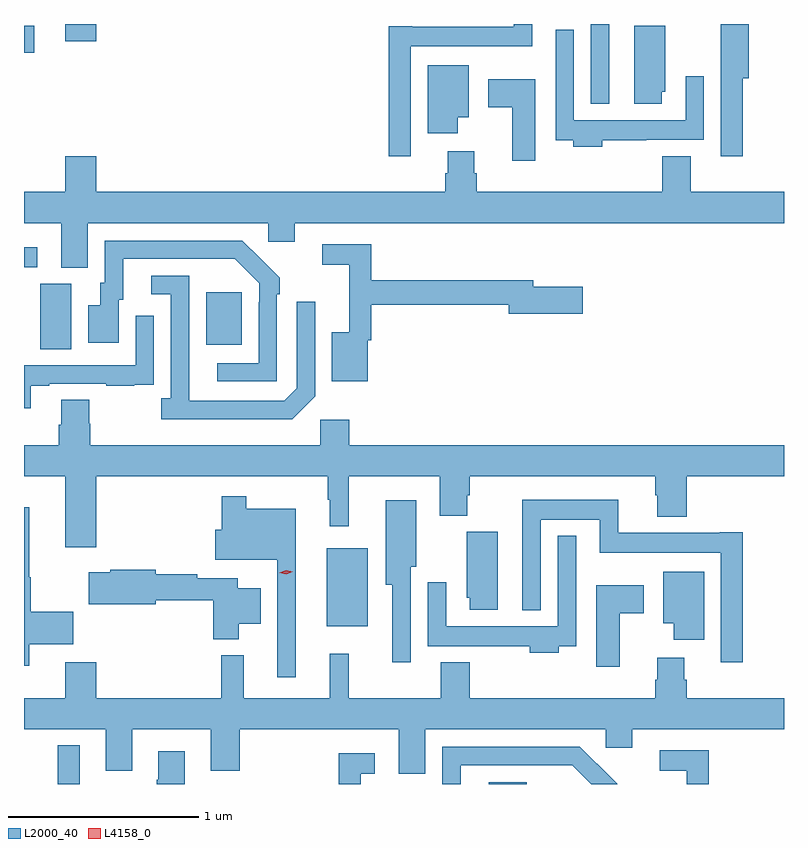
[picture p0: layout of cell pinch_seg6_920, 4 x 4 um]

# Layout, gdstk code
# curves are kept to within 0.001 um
import gdstk
lib = gdstk.Library(unit=1e-6, precision=1e-09)
def R(c, l, rs):  # rectangles x0, y0, x1, y1
    for r in rs: c.add(gdstk.rectangle(r[:2], r[2:], *l))
def P(c, l, *ps):  # polygons
    for p in ps: c.add(gdstk.Polygon(p, *l))
L2000_40 = (2000, 40)
L4158_0 = (4158, 0)

pinch_seg6_920 = lib.new_cell('pinch_seg6_920')
R(pinch_seg6_920, L2000_40, [(248.885,947.048,249.001,947.251), (251.154,947.048,251.352,947.058), (250.301,947.879,250.516,948.289), (248.792,949.336,248.956,949.68), (249.665,949.361,249.853,949.636), (248.707,949.767,248.776,949.873), (251.691,950.627,251.788,951.048), (248.707,950.897,248.761,951.039), (248.924,950.958,249.088,951.048)])
P(pinch_seg6_920, L2000_40, [(252.491,950.762),(252.521,950.762),(252.521,951.048),(252.374,951.048),(252.374,950.866),(252.375,950.866),(252.375,950.352),(252.491,950.352)],
  [(250.743,950.93),(251.382,950.93),(251.382,951.048),(251.285,951.048),(251.285,951.034),(250.75,951.034),(250.75,951.037),(250.627,951.037),(250.627,950.352),(250.743,950.352)],
  [(252.064,950.691),(252.082,950.691),(252.082,951.039),(251.918,951.039),(251.918,950.628),(252.064,950.628)],
  [(251.75,950.436),(251.981,950.436),(251.981,950.438),(252.285,950.438),(252.285,950.773),(252.189,950.773),(252.189,950.542),(251.601,950.542),(251.601,951.019),(251.505,951.019),(251.505,950.436),(251.597,950.436),(251.597,950.402),(251.75,950.402)],
  [(250.99,950.558),(251.047,950.558),(251.047,950.83),(250.832,950.83),(250.832,950.472),(250.99,950.472)],
  [(251.398,950.758),(251.151,950.758),(251.151,950.611),(251.276,950.611),(251.276,950.328),(251.398,950.328)],
  [(249.043,950),(249.993,950),(249.993,949.902),(250.132,949.902),(250.132,950),(252.707,950),(252.707,950.164),(252.217,950.164),(252.217,950.353),(252.065,950.353),(252.065,950.164),(251.09,950.164),(251.09,950.262),(251.077,950.262),(251.077,950.377),(250.937,950.377),(250.937,950.262),(250.925,950.262),(250.925,950.164),(249.088,950.164),(249.088,950.353),(248.924,950.353),(248.924,950.164),(248.707,950.164),(248.707,950),(248.903,950),(248.903,949.765),(249.043,949.765)],
  [(250.038,949.625),(250.053,949.625),(250.053,949.713),(249.856,949.908),(249.132,949.908),(249.132,949.686),(249.107,949.686),(249.107,949.567),(249.044,949.567),(249.044,949.371),(249.205,949.371),(249.205,949.596),(249.229,949.596),(249.229,949.812),(249.817,949.812),(249.945,949.683),(249.945,949.583),(249.942,949.583),(249.942,949.263),(249.723,949.263),(249.723,949.167),(250.038,949.167)],
  [(250.516,949.383),(250.535,949.383),(250.535,949.57),(251.258,949.57),(251.258,949.523),(251.647,949.523),(251.647,949.665),(251.386,949.665),(251.386,949.699),(250.535,949.699),(250.535,949.89),(250.278,949.89),(250.278,949.782),(250.418,949.782),(250.418,949.426),(250.328,949.426),(250.328,949.169),(250.516,949.169)],
  [(250.239,949.089),(250.239,949.585),(250.143,949.585),(250.143,949.131),(250.077,949.065),(249.577,949.065),(249.576,949.722),(249.378,949.722),(249.378,949.626),(249.48,949.626),(249.48,949.078),(249.429,949.078),(249.429,948.968),(250.118,948.968)],
  [(248.743,949.143),(248.839,949.143),(248.839,949.155),(249.139,949.155),(249.139,949.143),(249.287,949.143),(249.287,949.149),(249.389,949.149),(249.389,949.258),(249.39,949.258),(249.39,949.513),(249.294,949.513),(249.294,949.251),(248.707,949.251),(248.707,949.026),(248.743,949.026)],
  [(249.088,948.668),(250.305,948.668),(250.305,948.545),(250.316,948.545),(250.316,948.405),(250.415,948.405),(250.415,948.668),(250.894,948.668),(250.894,948.46),(251.041,948.46),(251.041,948.569),(251.054,948.569),(251.054,948.668),(252.029,948.668),(252.029,948.567),(252.041,948.567),(252.041,948.455),(252.194,948.455),(252.194,948.668),(252.707,948.668),(252.707,948.832),(250.418,948.832),(250.418,948.964),(250.266,948.964),(250.266,948.832),(249.056,948.832),(249.056,948.945),(249.051,948.945),(249.051,949.07),(248.903,949.07),(248.903,948.938),(248.891,948.938),(248.891,948.832),(248.707,948.832),(248.707,948.668),(248.924,948.668),(248.924,948.294),(249.088,948.294)],
  [(250.138,948.496),(249.877,948.496),(249.877,948.562),(249.748,948.562),(249.748,948.385),(249.714,948.385),(249.714,948.227),(250.041,948.227),(250.041,947.61),(250.138,947.61)],
  [(252.491,948.373),(252.368,948.373),(252.368,948.37),(251.834,948.37),(251.834,948.544),(251.33,948.544),(251.33,947.963),(251.427,947.963),(251.427,948.44),(251.736,948.44),(251.736,948.266),(252.375,948.266),(252.375,947.688),(252.491,947.688)],
  [(250.743,948.192),(250.771,948.192),(250.771,948.541),(250.61,948.541),(250.61,948.098),(250.646,948.098),(250.646,947.688),(250.743,947.688)],
  [(248.734,947.783),(248.965,947.783),(248.965,947.954),(248.742,947.954),(248.742,948.137),(248.734,948.137),(248.734,948.505),(248.707,948.505),(248.707,947.67),(248.734,947.67)],
  [(251.2,948.375),(251.036,948.375),(251.036,948.027),(251.054,948.027),(251.054,947.964),(251.2,947.964)],
  [(251.521,947.772),(251.613,947.772),(251.613,948.355),(251.517,948.355),(251.517,947.878),(250.929,947.878),(250.929,948.109),(250.833,948.109),(250.833,947.774),(251.137,947.774),(251.137,947.772),(251.369,947.772),(251.369,947.738),(251.521,947.738)],
  [(249.838,947.891),(249.952,947.891),(249.952,948.079),(249.832,948.079),(249.832,948.132),(249.62,948.132),(249.62,948.152),(249.4,948.152),(249.4,948.176),(249.16,948.176),(249.16,948.163),(249.048,948.163),(249.048,947.993),(249.4,947.993),(249.4,948.016),(249.704,948.016),(249.704,947.81),(249.838,947.81)],
  [(252.286,948.166),(252.071,948.166),(252.071,947.894),(252.128,947.894),(252.128,947.808),(252.286,947.808)],
  [(251.842,947.947),(251.968,947.947),(251.968,948.094),(251.72,948.094),(251.72,947.664),(251.842,947.664)],
  [(250.819,947.336),(251.769,947.336),(251.769,947.238),(251.908,947.238),(251.908,947.336),(252.707,947.336),(252.707,947.5),(252.194,947.5),(252.194,947.598),(252.181,947.598),(252.181,947.713),(252.041,947.713),(252.041,947.598),(252.029,947.598),(252.029,947.5),(251.054,947.5),(251.054,947.689),(250.901,947.689),(250.901,947.5),(250.416,947.5),(250.416,947.734),(250.316,947.734),(250.316,947.5),(249.863,947.5),(249.863,947.725),(249.745,947.725),(249.745,947.5),(249.088,947.5),(249.088,947.689),(248.924,947.689),(248.924,947.5),(248.707,947.5),(248.707,947.336),(249.137,947.336),(249.137,947.118),(249.277,947.118),(249.277,947.336),(249.689,947.336),(249.689,947.118),(249.842,947.118),(249.842,947.336),(250.679,947.336),(250.679,947.101),(250.819,947.101)],
  [(251.005,947.148),(251.593,947.148),(251.692,947.048),(251.829,947.048),(251.829,947.049),(251.724,947.154),(251.723,947.153),(251.632,947.244),(250.908,947.244),(250.908,947.048),(251.005,947.048)],
  [(252.311,947.226),(252.054,947.226),(252.054,947.118),(252.194,947.118),(252.194,947.048),(252.311,947.048)],
  [(249.553,947.221),(249.413,947.221),(249.413,947.07),(249.406,947.07),(249.406,947.048),(249.553,947.048)],
  [(250.479,947.103),(250.552,947.103),(250.552,947.209),(250.363,947.209),(250.363,947.048),(250.479,947.048)])
P(pinch_seg6_920, L4158_0, [(250.087,948.153),(250.051,948.161),(250.051,948.161),(250.051,948.161),(250.086,948.173),(250.122,948.165),(250.122,948.165),(250.122,948.165)])

lib.write_gds('pinch_seg6_920.gds')
